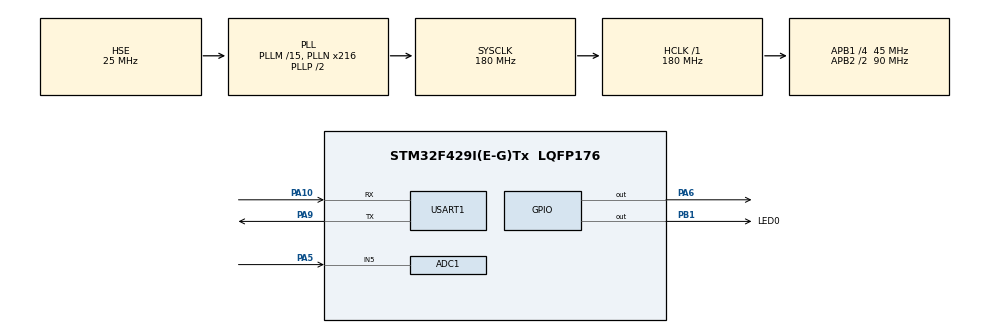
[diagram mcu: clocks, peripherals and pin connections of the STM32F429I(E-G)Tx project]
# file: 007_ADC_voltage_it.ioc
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ADC1.Channel-0\#ChannelRegularConversion=ADC_CHANNEL_5
ADC1.NbrOfConversionFlag=1
ADC1.Rank-0\#ChannelRegularConversion=1
ADC1.SamplingTime-0\#ChannelRegularConversion=ADC_SAMPLETIME_3CYCLES
ADC1.master=1
Mcu.Family=STM32F4
Mcu.Name=STM32F429I(E-G)Tx
Mcu.Package=LQFP176
NVIC.ADC_IRQn=true\:0\:0\:false\:false\:true\:true\:true
NVIC.PriorityGroup=NVIC_PRIORITYGROUP_4
PA10.Mode=Asynchronous
PA10.Signal=USART1_RX
PA13.Mode=Serial_Wire
PA13.Signal=SYS_JTMS-SWDIO
PA14.Mode=Serial_Wire
PA14.Signal=SYS_JTCK-SWCLK
PA5.Signal=ADCx_IN5
PA6.PinState=GPIO_PIN_SET
PA6.Signal=GPIO_Output
PA9.Mode=Asynchronous
PA9.Signal=USART1_TX
PB1.GPIO_Label=LED0
PB1.Signal=GPIO_Output
PC14/OSC32_IN.Mode=LSE-External-Oscillator
PC14/OSC32_IN.Signal=RCC_OSC32_IN
PC15/OSC32_OUT.Mode=LSE-External-Oscillator
PC15/OSC32_OUT.Signal=RCC_OSC32_OUT
PH0/OSC_IN.Mode=HSE-External-Oscillator
PH0/OSC_IN.Signal=RCC_OSC_IN
PH1/OSC_OUT.Mode=HSE-External-Oscillator
PH1/OSC_OUT.Signal=RCC_OSC_OUT
ProjectManager.HeapSize=0x200
ProjectManager.StackSize=0x400
ProjectManager.TargetToolchain=MDK-ARM V5.27
RCC.48MHZClocksFreq_Value=90000000
RCC.AHBFreq_Value=180000000
RCC.APB1CLKDivider=RCC_HCLK_DIV4
RCC.APB1Freq_Value=45000000
RCC.APB1TimFreq_Value=90000000
RCC.APB2CLKDivider=RCC_HCLK_DIV2
RCC.APB2Freq_Value=90000000
RCC.APB2TimFreq_Value=180000000
RCC.CortexFreq_Value=180000000
RCC.HCLKFreq_Value=180000000
RCC.HSE_VALUE=25000000
RCC.HSI_VALUE=16000000
RCC.PLLM=15
RCC.PLLN=216
RCC.PLLSourceVirtual=RCC_PLLSOURCE_HSE
RCC.SYSCLKFreq_VALUE=180000000
RCC.SYSCLKSource=RCC_SYSCLKSOURCE_PLLCLK
RCC.VCOOutputFreq_Value=360000000
SH.ADCx_IN5.0=ADC1_IN5,IN5
USART1.VirtualMode=VM_ASYNC
board=custom

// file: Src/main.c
/* USER CODE BEGIN Header */
/**
  ******************************************************************************
  * @file           : main.c
  * @brief          : Main program body
  ******************************************************************************
  * @attention
  *
  * <h2><center>&copy; Copyright (c) 2021 STMicroelectronics.
  * All rights reserved.</center></h2>
  *
  * This software component is licensed by ST under BSD 3-Clause license,
  * the "License"; You may not use this file except in compliance with the
  * License. You may obtain a copy of the License at:
  *                        opensource.org/licenses/BSD-3-Clause
  *
  ******************************************************************************
  */
/* USER CODE END Header */

#include "main.h"
#include "adc.h"
#include "usart.h"
#include "gpio.h"

/* USER CODE BEGIN Includes */
#include "stdio.h"
/* USER CODE END Includes */

void SystemClock_Config(void);

/* USER CODE BEGIN 0 */
#define LED0_ON		HAL_GPIO_WritePin(LED0_GPIO_Port,LED0_Pin,GPIO_PIN_RESET)
#define LED0_OFF		HAL_GPIO_WritePin(LED0_GPIO_Port,LED0_Pin,GPIO_PIN_SET)

uint16_t ADC1_Value = 0,ADC1_Volt = 0;
uint8_t str_1[] = "=============LongYorke:Hello,my friend！=============/r/n";
uint8_t str_buff[64] = {0};

void HAL_ADC_ConvCpltCallback(ADC_HandleTypeDef* hadc)
{
	if(hadc->Instance == hadc1.Instance)
	{
		ADC1_Value = HAL_ADC_GetValue(&hadc1);
		ADC1_Volt = (ADC1_Value - 4096) * (-1) * 330 / 4096;
		LED0_OFF;
	}
}

void usart1_conv_info(void)
{
	sprintf((char *)str_buff,"采样值：%d		电压值：%d.%d%dV\r\n",ADC1_Value,(ADC1_Volt/100)%10,(ADC1_Volt/10)%10,ADC1_Volt%10);
	HAL_UART_Transmit(&huart1,str_buff,sizeof(str_buff),10000);
}

/* USER CODE END 0 */

int main(void)
{

  /* MCU Configuration--------------------------------------------------------*/

  /* Reset of all peripherals, Initializes the Flash interface and the Systick. */
  HAL_Init();

  /* Configure the system clock */
  SystemClock_Config();

  /* Initialize all configured peripherals */
  MX_GPIO_Init();
  MX_ADC1_Init();
  MX_USART1_UART_Init();

  /* Infinite loop */
  /* USER CODE BEGIN WHILE */
  while (1)
  {
		HAL_ADC_Start_IT(&hadc1);
		usart1_conv_info();
		HAL_Delay(500);

    /* USER CODE END WHILE */

  }
}

void SystemClock_Config(void)
{
  RCC_OscInitTypeDef RCC_OscInitStruct = {0};
  RCC_ClkInitTypeDef RCC_ClkInitStruct = {0};

  /** Configure the main internal regulator output voltage
  */
  __HAL_RCC_PWR_CLK_ENABLE();
  __HAL_PWR_VOLTAGESCALING_CONFIG(PWR_REGULATOR_VOLTAGE_SCALE1);
  /** Initializes the CPU, AHB and APB busses clocks
  */
  RCC_OscInitStruct.OscillatorType = RCC_OSCILLATORTYPE_HSE;
  RCC_OscInitStruct.HSEState = RCC_HSE_ON;
  RCC_OscInitStruct.PLL.PLLState = RCC_PLL_ON;
  RCC_OscInitStruct.PLL.PLLSource = RCC_PLLSOURCE_HSE;
  RCC_OscInitStruct.PLL.PLLM = 15;
  RCC_OscInitStruct.PLL.PLLN = 216;
  RCC_OscInitStruct.PLL.PLLP = RCC_PLLP_DIV2;
  RCC_OscInitStruct.PLL.PLLQ = 4;
  if (HAL_RCC_OscConfig(&RCC_OscInitStruct) != HAL_OK)
  {
    Error_Handler();
  }
  /** Activate the Over-Drive mode
  */
  if (HAL_PWREx_EnableOverDrive() != HAL_OK)
  {
    Error_Handler();
  }
  /** Initializes the CPU, AHB and APB busses clocks
  */
  RCC_ClkInitStruct.ClockType = RCC_CLOCKTYPE_HCLK|RCC_CLOCKTYPE_SYSCLK
                              |RCC_CLOCKTYPE_PCLK1|RCC_CLOCKTYPE_PCLK2;
  RCC_ClkInitStruct.SYSCLKSource = RCC_SYSCLKSOURCE_PLLCLK;
  RCC_ClkInitStruct.AHBCLKDivider = RCC_SYSCLK_DIV1;
  RCC_ClkInitStruct.APB1CLKDivider = RCC_HCLK_DIV4;
  RCC_ClkInitStruct.APB2CLKDivider = RCC_HCLK_DIV2;

  if (HAL_RCC_ClockConfig(&RCC_ClkInitStruct, FLASH_LATENCY_5) != HAL_OK)
  {
    Error_Handler();
  }
}

void Error_Handler(void)
{
}

/************************ (C) COPYRIGHT STMicroelectronics *****END OF FILE****/
